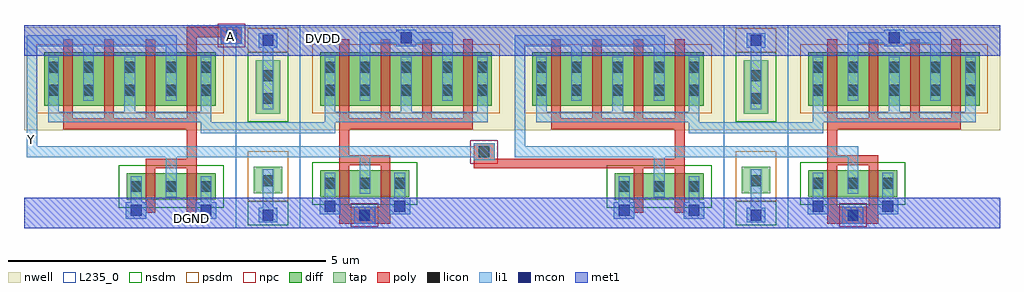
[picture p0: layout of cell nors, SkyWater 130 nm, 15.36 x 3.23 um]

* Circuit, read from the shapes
.subckt nors A DGND DVDD Y
XM1 Y A DGND DGND sky130_fd_pr__nfet_01v8 w=0.42 l=0.15 m=2
XM2 Y DGND DGND DGND sky130_fd_pr__nfet_01v8 w=0.42 l=0.15 m=2
XM3 n1 Y DGND DGND sky130_fd_pr__nfet_01v8 w=0.42 l=0.15 m=2
XM4 n1 DGND DGND DGND sky130_fd_pr__nfet_01v8 w=0.42 l=0.15 m=2
XM5 Y A n2 DVDD sky130_fd_pr__pfet_01v8 w=0.84 l=0.15 m=4
XM6 DVDD DGND n2 DVDD sky130_fd_pr__pfet_01v8 w=0.84 l=0.15 m=4
XM7 n1 Y n3 DVDD sky130_fd_pr__pfet_01v8 w=0.84 l=0.15 m=4
XM8 DVDD DGND n3 DVDD sky130_fd_pr__pfet_01v8 w=0.84 l=0.15 m=4
.ends

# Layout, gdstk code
import gdstk
lib = gdstk.Library(unit=1e-6, precision=1e-09)
def R(c, l, rs):  # rectangles x0, y0, x1, y1
    for r in rs: c.add(gdstk.rectangle(r[:2], r[2:], *l))
def A(c, l, x, y, w, h, nx, ny, dx, dy):  # array of equal rectangles
    R(c, l, [(x+i*dx, y+j*dy, x+i*dx+w, y+j*dy+h) for i in range(nx) for j in range(ny)])
def P(c, l, *ps):  # polygons
    for p in ps: c.add(gdstk.Polygon(p, *l))
nwell = (64, 20)
diff = (65, 20)
tap = (65, 44)
poly = (66, 20)
licon = (66, 44)
li1 = (67, 20)
mcon = (67, 44)
met1 = (68, 20)
nsdm = (93, 44)
psdm = (94, 20)
npc = (95, 20)
L235_0 = (235, 0)

vias_gen = lib.new_cell('vias_gen')
R(vias_gen, li1, [(0,0,0.29,0.23)])
R(vias_gen, mcon, [(0.06,0.03,0.23,0.2)])
R(vias_gen, met1, [(0,0,0.29,0.23)])

tap_ = lib.new_cell('tap')
R(tap_, nwell, [(-1.455,0.92,-0.435,2.525)])
R(tap_, tap, [(-1.17,-0.07,-0.72,0.35), (-1.14,1.18,-0.75,2.02)])
R(tap_, licon, [(-1.03,0.04,-0.86,0.21), (-1.03,1.335,-0.86,1.505), (-1.03,1.695,-0.86,1.865)])
R(tap_, li1, [(-1.03,-0.3,-0.86,-0.025), (-1.03,-0.025,-0.86,0.305), (-1.03,1.255,-0.86,1.945), (-1.03,1.945,-0.86,2.25)])
R(tap_, met1, [(-1.455,-0.625,-0.435,-0.145), (-1.455,2.095,-0.435,2.575)])
R(tap_, nsdm, [(-1.265,-0.575,-0.625,-0.195), (-1.265,1.055,-0.625,2.145)])
R(tap_, psdm, [(-1.265,-0.195,-0.625,0.59), (-1.265,2.145,-0.625,2.525)])
R(tap_, L235_0, [(-1.455,-0.625,-0.435,2.575)])
tap_.add(gdstk.Reference(vias_gen, (-1.09,-0.53)))
tap_.add(gdstk.Reference(vias_gen, (-1.09,2.22)))

nfet = lib.new_cell('nfet')
R(nfet, diff, [(0,0,1.4,0.42)])
R(nfet, poly, [(0.3,-0.2,0.45,0.62), (0.95,-0.2,1.1,0.62)])
A(nfet, licon, 0.065, 0.125, 0.17, 0.17, 3, 1, 0.55, 0)
A(nfet, li1, 0.065, 0.045, 0.17, 0.33, 3, 1, 0.55, 0)
R(nfet, nsdm, [(-0.125,-0.125,1.525,0.545)])

pfet = lib.new_cell('pfet')
R(pfet, nwell, [(-0.315,-0.39,3.015,1.23)])
R(pfet, diff, [(0,0,2.7,0.84)])
A(pfet, poly, 0.3, -0.2, 0.15, 1.24, 4, 1, 0.65, 0)
A(pfet, licon, 0.615, 0.155, 0.17, 0.17, 3, 2, 0.65, 0.36)
R(pfet, licon, [(0.065,0.155,0.235,0.325), (2.465,0.155,2.635,0.325), (0.065,0.515,0.235,0.685), (2.465,0.515,2.635,0.685)])
A(pfet, li1, 0.615, 0.075, 0.17, 0.69, 3, 1, 0.65, 0)
R(pfet, li1, [(0.065,0.075,0.235,0.765), (2.465,0.075,2.635,0.765)])
R(pfet, psdm, [(-0.125,-0.125,2.825,0.965)])

vias_gen_2 = lib.new_cell('vias_gen$2')
R(vias_gen_2, li1, [(0,0,0.32,0.26)])
R(vias_gen_2, mcon, [(0.075,0.045,0.245,0.215)])
R(vias_gen_2, met1, [(0,0,0.32,0.26)])

vias_gen_4 = lib.new_cell('vias_gen$4')
R(vias_gen_4, poly, [(0,0,0.33,0.27)])
R(vias_gen_4, licon, [(0.08,0.05,0.25,0.22)])
R(vias_gen_4, li1, [(0,0,0.33,0.27)])
R(vias_gen_4, npc, [(-0.05,-0.05,0.38,0.32)])

vias_gen_5 = lib.new_cell('vias_gen$5')
R(vias_gen_5, poly, [(0,0,0.33,0.27)])
R(vias_gen_5, licon, [(0.08,0.05,0.25,0.22)])
R(vias_gen_5, li1, [(0,0,0.33,0.27)])
R(vias_gen_5, mcon, [(0.08,0.05,0.25,0.22)])
R(vias_gen_5, met1, [(0,0,0.33,0.27)])
R(vias_gen_5, npc, [(-0.05,-0.05,0.38,0.32)])

nors = lib.new_cell('nors')
R(nors, nwell, [(-0.495,2.655,0.525,2.67), (7.185,2.655,8.205,2.67)])
R(nors, poly, [(1.14,-0.42,1.37,-0.195), (1.7,-0.42,1.94,-0.195), (8.82,-0.42,9.055,-0.195), (9.385,-0.42,9.62,-0.195), (1.29,-0.195,1.37,-0.15), (1.7,-0.195,1.79,-0.15), (8.97,-0.195,9.055,-0.15), (9.385,-0.195,9.47,-0.15), (-1.76,0.45,-1.26,0.605), (3.25,0.45,3.58,0.575), (3.58,0.45,5.77,0.605), (5.92,0.45,6.42,0.605), (1.29,0.5,1.79,0.66), (8.97,0.5,9.47,0.66), (-1.91,0.575,-1.76,0.605), (-1.26,0.575,-1.11,1.24), (1.14,0.575,1.29,1.24), (5.77,0.575,5.92,0.605), (6.42,0.575,6.57,1.24), (8.82,0.575,8.97,1.24), (1.79,0.625,1.94,0.66), (9.47,0.625,9.62,0.66), (-3.21,1.07,-1.26,1.24), (1.29,1.07,3.24,1.24), (4.47,1.07,6.42,1.24), (8.97,1.07,10.92,1.24), (-1.26,2.48,-1.11,2.515), (-1.26,2.515,-1.035,2.68), (-1.035,2.515,-0.725,2.68)])
A(nors, li1, -3.445, 1.345, 0.17, 0.17, 3, 1, 1.2, 0)
A(nors, li1, 0.905, 1.345, 0.17, 0.17, 3, 1, 1.2, 0)
A(nors, li1, 4.235, 1.345, 0.17, 0.17, 3, 1, 1.2, 0)
A(nors, li1, 8.585, 1.345, 0.17, 0.17, 3, 1, 1.2, 0)
R(nors, li1, [(-2.145,-0.125,-1.975,0), (-1.045,-0.125,-0.875,0), (5.535,-0.125,5.705,0), (6.635,-0.125,6.805,0), (0.905,-0.06,1.075,0.05), (2.005,-0.06,2.175,0.05), (8.585,-0.06,8.755,0.05), (9.685,-0.06,9.855,0.05), (-1.595,0.33,-1.425,0.625), (6.085,0.33,6.255,0.625), (1.455,0.38,1.625,0.625), (9.135,0.38,9.305,0.625), (-3.785,0.625,-3.615,2.545), (-3.615,0.625,-1.495,0.795), (-1.495,0.625,1.625,0.795), (1.625,0.625,3.5,0.795), (3.895,0.625,4.065,2.545), (4.065,0.625,6.185,0.795), (6.185,0.625,9.305,0.795), (-1.045,1.005,1.075,1.175), (6.635,1.005,8.755,1.175), (-3.445,1.175,-0.875,1.345), (0.905,1.175,3.475,1.345), (4.235,1.175,6.805,1.345), (8.585,1.175,11.155,1.345), (-2.895,2.205,-2.725,2.375), (-1.595,2.205,-1.425,2.375), (1.455,2.205,1.625,2.42), (4.785,2.205,4.955,2.375), (6.085,2.205,6.255,2.375), (9.135,2.205,9.305,2.42), (-3.615,2.375,-2.895,2.545), (-2.895,2.375,-1.425,2.545), (4.065,2.375,4.785,2.545), (4.785,2.375,6.255,2.545), (1.455,2.42,2.925,2.59), (9.135,2.42,10.605,2.59)])
P(nors, li1, [(10.435,2.205),(10.435,2.42),(10.605,2.42),(10.605,2.205),(10.52,2.205)],
  [(2.755,2.205),(2.755,2.42),(2.925,2.42),(2.925,2.205),(2.84,2.205)])
R(nors, met1, [(-3.825,-0.495,-0.495,-0.015), (0.525,-0.495,3.855,-0.015), (3.855,-0.495,7.185,-0.015), (8.205,-0.495,11.535,-0.015), (-3.825,2.225,-0.495,2.705), (0.525,2.225,3.855,2.705), (3.855,2.225,7.185,2.705), (8.205,2.225,11.535,2.705)])
nors.add(gdstk.Reference(tap_, (0.96,0.13)))
nors.add(gdstk.Reference(nfet, (0.84,0.005)))
nors.add(gdstk.Reference(pfet, (-3.51,1.44)))
nors.add(gdstk.Reference(nfet, (-2.21,-0.045)))
nors.add(gdstk.Reference(vias_gen_2, (2.03,2.375)))
nors.add(gdstk.Reference(pfet, (0.84,1.44)))
nors.add(gdstk.Reference(vias_gen_2, (0.83,-0.275)))
nors.add(gdstk.Reference(vias_gen_2, (-2.22,-0.34)))
nors.add(gdstk.Reference(vias_gen_2, (-1.12,-0.34)))
nors.add(gdstk.Reference(vias_gen_2, (1.93,-0.275)))
nors.add(gdstk.Reference(tap_, (8.64,0.13)))
nors.add(gdstk.Reference(nfet, (8.52,0.005)))
nors.add(gdstk.Reference(pfet, (4.17,1.44)))
nors.add(gdstk.Reference(nfet, (5.47,-0.045)))
nors.add(gdstk.Reference(vias_gen_2, (9.71,2.375)))
nors.add(gdstk.Reference(pfet, (8.52,1.44)))
nors.add(gdstk.Reference(vias_gen_2, (8.51,-0.275)))
nors.add(gdstk.Reference(vias_gen_2, (5.46,-0.34)))
nors.add(gdstk.Reference(vias_gen_2, (6.56,-0.34)))
nors.add(gdstk.Reference(vias_gen_2, (9.61,-0.275)))
nors.add(gdstk.Reference(vias_gen_4, (3.25,0.575)))
nors.add(gdstk.Reference(vias_gen_5, (1.37,-0.42)))
nors.add(gdstk.Reference(vias_gen_5, (9.055,-0.42)))
nors.add(gdstk.Reference(vias_gen_4, (-0.725,2.41)))
nors.add(gdstk.Label('DGND', (-1.19,-0.345), layer=68, texttype=5))
nors.add(gdstk.Label('DVDD', (0.895,2.495), layer=68, texttype=5))
nors.add(gdstk.Label('A', (-0.58,2.53), layer=67, texttype=5))
nors.add(gdstk.Label('Y', (-3.705,0.905), layer=67, texttype=5))

lib.write_gds('nors.gds')
